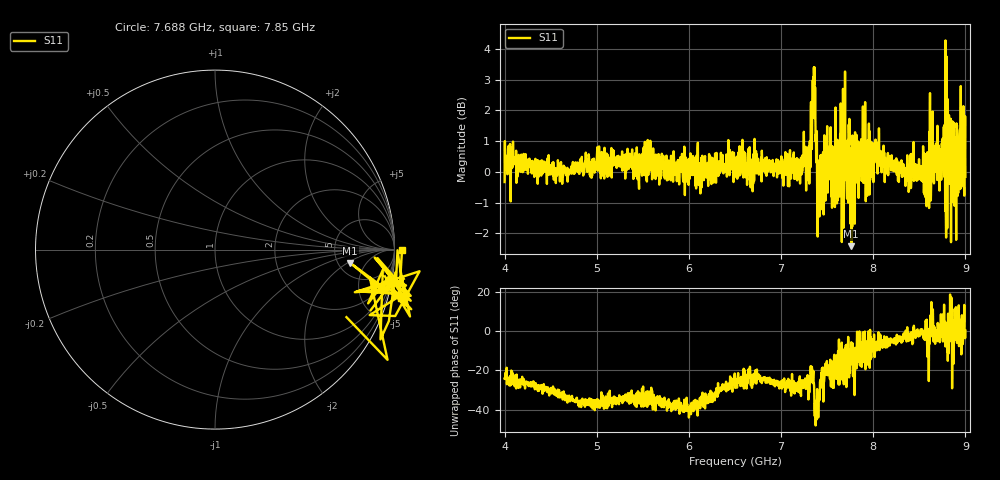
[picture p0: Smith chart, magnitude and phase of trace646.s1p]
! Created with skrf 1.8.0 (http://scikit-rf.org).
# Hz S RI R 50.0
!freq ReS11 ImS11
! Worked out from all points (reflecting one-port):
!   1601 points, 4 GHz to 9 GHz, reference 50 ohm
!   lowest |S11| = -2.4 dB at 7.762 GHz (marker M1), VSWR 7.22, Z = 322 - j111 ohm
!   phase of S11 starts at -24 deg and turns +24 deg over the sweep
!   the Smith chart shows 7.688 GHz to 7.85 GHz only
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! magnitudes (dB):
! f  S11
! 4 GHz  -0.3
! 4.1 GHz  0.3
! 4.625 GHz  -0.4
! 5.25 GHz  0.3
! 5.875 GHz  -0.1
! 6.5 GHz  0.1
! 7.125 GHz  0.4
! 7.294 GHz  -0.3
! 7.347 GHz  2.0
! 7.366 GHz  1.7
! 7.397 GHz  -2.1
! 7.416 GHz  -1.5
! 7.512 GHz  0.5
! 7.591 GHz  2.1
! 7.669 GHz  0.3
! 7.75 GHz  -0.5
! 7.762 GHz  -2.4
! 7.775 GHz  1.2
! 7.834 GHz  0.2
! 7.981 GHz  0.0
! 8.038 GHz  0.3
! 8.375 GHz  0.1
! 8.581 GHz  -0.4
! 8.634 GHz  -0.1
! 8.772 GHz  -0.2
! 8.875 GHz  0.4
! 8.956 GHz  0.0
! 9 GHz  -0.2
